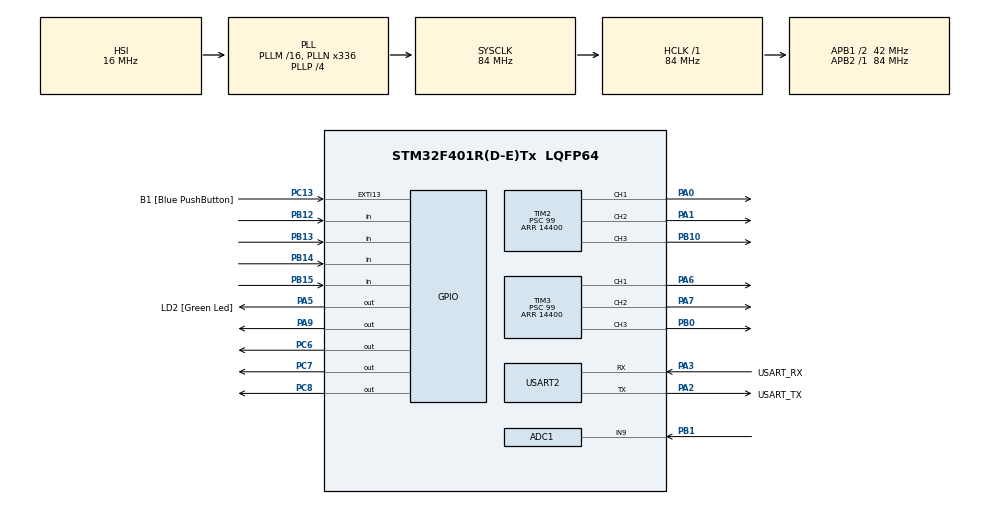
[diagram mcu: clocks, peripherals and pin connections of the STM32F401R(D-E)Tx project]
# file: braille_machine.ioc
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ADC1.Channel-1\#ChannelRegularConversion=ADC_CHANNEL_9
ADC1.ContinuousConvMode=ENABLE
ADC1.NbrOfConversionFlag=1
ADC1.Rank-1\#ChannelRegularConversion=1
ADC1.SamplingTime-1\#ChannelRegularConversion=ADC_SAMPLETIME_3CYCLES
ADC1.master=1
Mcu.Family=STM32F4
Mcu.Name=STM32F401R(D-E)Tx
Mcu.Package=LQFP64
NVIC.PriorityGroup=NVIC_PRIORITYGROUP_0
PA0-WKUP.Signal=S_TIM2_CH1_ETR
PA1.Signal=S_TIM2_CH2
PA13.GPIO_Label=TMS
PA13.Mode=Serial_Wire
PA13.Signal=SYS_JTMS-SWDIO
PA14.GPIO_Label=TCK
PA14.Mode=Serial_Wire
PA14.Signal=SYS_JTCK-SWCLK
PA2.GPIO_Label=USART_TX
PA2.GPIO_Mode=GPIO_MODE_AF_PP
PA2.GPIO_PuPd=GPIO_NOPULL
PA2.GPIO_Speed=GPIO_SPEED_FREQ_LOW
PA2.Mode=Asynchronous
PA2.Signal=USART2_TX
PA3.GPIO_Label=USART_RX
PA3.GPIO_Mode=GPIO_MODE_AF_PP
PA3.GPIO_PuPd=GPIO_NOPULL
PA3.GPIO_Speed=GPIO_SPEED_FREQ_LOW
PA3.Mode=Asynchronous
PA3.Signal=USART2_RX
PA5.GPIO_Label=LD2 [Green Led]
PA5.GPIO_Mode=GPIO_MODE_OUTPUT_PP
PA5.GPIO_PuPd=GPIO_NOPULL
PA5.GPIO_Speed=GPIO_SPEED_FREQ_LOW
PA5.Signal=GPIO_Output
PA6.Signal=S_TIM3_CH1
PA7.Signal=S_TIM3_CH2
PA9.Signal=GPIO_Output
PB0.Signal=S_TIM3_CH3
PB1.Signal=ADCx_IN9
PB10.Signal=S_TIM2_CH3
PB12.GPIO_PuPd=GPIO_PULLDOWN
PB12.Signal=GPIO_Input
PB13.GPIO_PuPd=GPIO_PULLDOWN
PB13.Signal=GPIO_Input
PB14.GPIO_PuPd=GPIO_PULLDOWN
PB14.Signal=GPIO_Input
PB15.GPIO_PuPd=GPIO_PULLDOWN
PB15.Signal=GPIO_Input
PB3.GPIO_Label=SWO
PB3.Signal=SYS_JTDO-SWO
PC13-ANTI_TAMP.GPIO_Label=B1 [Blue PushButton]
PC13-ANTI_TAMP.GPIO_ModeDefaultEXTI=GPIO_MODE_IT_FALLING
PC13-ANTI_TAMP.GPIO_PuPd=GPIO_NOPULL
PC13-ANTI_TAMP.Signal=GPXTI13
PC14-OSC32_IN.Mode=LSE-External-Oscillator
PC14-OSC32_IN.Signal=RCC_OSC32_IN
PC15-OSC32_OUT.Mode=LSE-External-Oscillator
PC15-OSC32_OUT.Signal=RCC_OSC32_OUT
PC6.GPIO_PuPd=GPIO_PULLDOWN
PC6.Signal=GPIO_Output
PC7.GPIO_PuPd=GPIO_PULLDOWN
PC7.Signal=GPIO_Output
PC8.GPIO_PuPd=GPIO_PULLDOWN
PC8.Signal=GPIO_Output
PH0\ -\ OSC_IN.Mode=HSE-External-Clock-Source
PH0\ -\ OSC_IN.Signal=RCC_OSC_IN
PH1\ -\ OSC_OUT.Mode=HSE-External-Clock-Source
PH1\ -\ OSC_OUT.Signal=RCC_OSC_OUT
ProjectManager.HeapSize=0x200
ProjectManager.StackSize=0x400
ProjectManager.TargetToolchain=STM32CubeIDE
RCC.48MHZClocksFreq_Value=48000000
RCC.AHBFreq_Value=84000000
RCC.APB1CLKDivider=RCC_HCLK_DIV2
RCC.APB1Freq_Value=42000000
RCC.APB1TimFreq_Value=84000000
RCC.APB2Freq_Value=84000000
RCC.APB2TimFreq_Value=84000000
RCC.CortexFreq_Value=84000000
RCC.HCLKFreq_Value=84000000
RCC.HSE_VALUE=8000000
RCC.HSI_VALUE=16000000
RCC.PLLN=336
RCC.PLLP=RCC_PLLP_DIV4
RCC.PLLQ=7
RCC.SYSCLKFreq_VALUE=84000000
RCC.SYSCLKSource=RCC_SYSCLKSOURCE_PLLCLK
RCC.VCOOutputFreq_Value=336000000
SH.ADCx_IN9.0=ADC1_IN9,IN9
SH.S_TIM2_CH1_ETR.0=TIM2_CH1,PWM Generation1 CH1
SH.S_TIM2_CH2.0=TIM2_CH2,PWM Generation2 CH2
SH.S_TIM2_CH3.0=TIM2_CH3,PWM Generation3 CH3
SH.S_TIM3_CH1.0=TIM3_CH1,PWM Generation1 CH1
SH.S_TIM3_CH2.0=TIM3_CH2,PWM Generation2 CH2
SH.S_TIM3_CH3.0=TIM3_CH3,PWM Generation3 CH3
TIM2.AutoReloadPreload=TIM_AUTORELOAD_PRELOAD_ENABLE
TIM2.Channel-PWM\ Generation1\ CH1=TIM_CHANNEL_1
TIM2.Channel-PWM\ Generation2\ CH2=TIM_CHANNEL_2
TIM2.Channel-PWM\ Generation3\ CH3=TIM_CHANNEL_3
TIM2.Period=14400
TIM2.Prescaler=99
TIM2.Pulse-PWM\ Generation1\ CH1=0
TIM3.AutoReloadPreload=TIM_AUTORELOAD_PRELOAD_ENABLE
TIM3.Channel-PWM\ Generation1\ CH1=TIM_CHANNEL_1
TIM3.Channel-PWM\ Generation2\ CH2=TIM_CHANNEL_2
TIM3.Channel-PWM\ Generation3\ CH3=TIM_CHANNEL_3
TIM3.Period=14400
TIM3.Prescaler=99
USART2.VirtualMode=VM_ASYNC
VP_TIM2_VS_ClockSourceINT.Mode=Internal
VP_TIM3_VS_ClockSourceINT.Mode=Internal
board=NUCLEO-F401RE

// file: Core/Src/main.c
/* USER CODE BEGIN Header */
/**
  ******************************************************************************
  * @file           : main.c
  * @brief          : Main program body
  ******************************************************************************
  * @attention
  *
  * Copyright (c) 2023 STMicroelectronics.
  * All rights reserved.
  *
  * This software is licensed under terms that can be found in the LICENSE file
  * in the root directory of this software component.
  * If no LICENSE file comes with this software, it is provided AS-IS.
  *
  ******************************************************************************
  */
/* USER CODE END Header */
#include "main.h"

ADC_HandleTypeDef hadc1;

TIM_HandleTypeDef htim2;
TIM_HandleTypeDef htim3;

UART_HandleTypeDef huart2;

void SystemClock_Config(void);
static void MX_GPIO_Init(void);
static void MX_USART2_UART_Init(void);
static void MX_TIM2_Init(void);
static void MX_TIM3_Init(void);
static void MX_ADC1_Init(void);

/* USER CODE BEGIN 0 */
void motor1_on(TIM_HandleTypeDef *htim2) {
	__HAL_TIM_SET_COMPARE(htim2,TIM_CHANNEL_1, 1080);
}

void motor2_on(TIM_HandleTypeDef *htim2) {
	__HAL_TIM_SET_COMPARE(htim2,TIM_CHANNEL_2, 1080);
}

void motor3_on(TIM_HandleTypeDef *htim2) {
	__HAL_TIM_SET_COMPARE(htim2,TIM_CHANNEL_3, 1080);
}

void motor4_on(TIM_HandleTypeDef *htim3) {
	__HAL_TIM_SET_COMPARE(htim3,TIM_CHANNEL_1, 1080);
}

void motor5_on(TIM_HandleTypeDef *htim3) {
	__HAL_TIM_SET_COMPARE(htim3,TIM_CHANNEL_2, 1080);
}

void motor6_on(TIM_HandleTypeDef *htim3) {
	__HAL_TIM_SET_COMPARE(htim3,TIM_CHANNEL_3, 1080);
}

void motor1_off(TIM_HandleTypeDef *htim2) {
	__HAL_TIM_SET_COMPARE(htim2,TIM_CHANNEL_1, 880);
}

void motor2_off(TIM_HandleTypeDef *htim2) {
	__HAL_TIM_SET_COMPARE(htim2,TIM_CHANNEL_2, 980);
}

void motor3_off(TIM_HandleTypeDef *htim2) {
	__HAL_TIM_SET_COMPARE(htim2,TIM_CHANNEL_3, 1000);
}

void motor4_off(TIM_HandleTypeDef *htim3) {
	__HAL_TIM_SET_COMPARE(htim3,TIM_CHANNEL_1, 1280);
}

void motor5_off(TIM_HandleTypeDef *htim3) {
	__HAL_TIM_SET_COMPARE(htim3,TIM_CHANNEL_2, 1180);
}

void motor6_off(TIM_HandleTypeDef *htim3) {
	__HAL_TIM_SET_COMPARE(htim3,TIM_CHANNEL_3, 1160);
}

void display(char c)
{
	if (c == 'a') {
		motor1_off(&htim2);
		motor2_off(&htim2);
		motor3_off(&htim2);
		motor4_on(&htim3);
		motor5_off(&htim3);
		motor6_off(&htim3);
	} else if (c == 'b') {
		motor1_off(&htim2);
		motor2_off(&htim2);
		motor3_off(&htim2);
		motor4_on(&htim3);
		motor5_on(&htim3);
		motor6_off(&htim3);
	} else if (c == 'c') {
		motor1_on(&htim2);
		motor2_off(&htim2);
		motor3_off(&htim2);
		motor4_on(&htim3);
		motor5_off(&htim3);
		motor6_off(&htim3);
	} else if (c == 'd') {
		motor1_on(&htim2);
		motor2_on(&htim2);
		motor3_off(&htim2);
		motor4_on(&htim3);
		motor5_off(&htim3);
		motor6_off(&htim3);
	} else if (c == 'e') {
		motor1_off(&htim2);
		motor2_on(&htim2);
		motor3_off(&htim2);
		motor4_on(&htim3);
		motor5_off(&htim3);
		motor6_off(&htim3);
	} else if (c == 'f') {
		motor1_on(&htim2);
		motor2_off(&htim2);
		motor3_off(&htim2);
		motor4_on(&htim3);
		motor5_on(&htim3);
		motor6_off(&htim3);
	} else if (c == 'g') {
		motor1_on(&htim2);
		motor2_on(&htim2);
		motor3_off(&htim2);
		motor4_on(&htim3);
		motor5_on(&htim3);
		motor6_off(&htim3);
	} else if (c == 'h') {
		motor1_off(&htim2);
		motor2_on(&htim2);
		motor3_off(&htim2);
		motor4_on(&htim3);
		motor5_on(&htim3);
		motor6_off(&htim3);
	} else if (c == 'i') {
		motor1_on(&htim2);
		motor2_off(&htim2);
		motor3_off(&htim2);
		motor4_off(&htim3);
		motor5_on(&htim3);
		motor6_off(&htim3);
	} else if (c == 'j') {
		motor1_on(&htim2);
		motor2_on(&htim2);
		motor3_off(&htim2);
		motor4_off(&htim3);
		motor5_on(&htim3);
		motor6_off(&htim3);
	} else if (c == 'k') {
		motor1_off(&htim2);
		motor2_off(&htim2);
		motor3_on(&htim2);
		motor4_on(&htim3);
		motor5_off(&htim3);
		motor6_off(&htim3);
	} else if (c == 'l') {
		motor1_off(&htim2);
		motor2_off(&htim2);
		motor3_on(&htim2);
		motor4_on(&htim3);
		motor5_on(&htim3);
		motor6_off(&htim3);
	} else if (c == 'm') {
		motor1_on(&htim2);
		motor2_off(&htim2);
		motor3_on(&htim2);
		motor4_on(&htim3);
		motor5_off(&htim3);
		motor6_off(&htim3);
	} else if (c == 'n') {
		motor1_on(&htim2);
		motor2_on(&htim2);
		motor3_on(&htim2);
		motor4_on(&htim3);
		motor5_off(&htim3);
		motor6_off(&htim3);
	} else if (c == 'o') {
		motor1_off(&htim2);
		motor2_on(&htim2);
		motor3_on(&htim2);
		motor4_on(&htim3);
		motor5_off(&htim3);
		motor6_off(&htim3);
	} else if (c == 'p') {
		motor1_on(&htim2);
		motor2_off(&htim2);
		motor3_on(&htim2);
		motor4_on(&htim3);
		motor5_on(&htim3);
		motor6_off(&htim3);
	} else if (c == 'q') {
		motor1_on(&htim2);
		motor2_on(&htim2);
		motor3_on(&htim2);
		motor4_on(&htim3);
		motor5_on(&htim3);
		motor6_off(&htim3);
	} else if (c == 'r') {
		motor1_off(&htim2);
		motor2_on(&htim2);
		motor3_on(&htim2);
		motor4_on(&htim3);
		motor5_on(&htim3);
		motor6_off(&htim3);
	} else if (c == 's') {
		motor1_on(&htim2);
		motor2_off(&htim2);
		motor3_on(&htim2);
		motor4_off(&htim3);
		motor5_on(&htim3);
		motor6_off(&htim3);
	} else if (c == 't') {
		motor1_on(&htim2);
		motor2_on(&htim2);
		motor3_on(&htim2);
		motor4_off(&htim3);
		motor5_on(&htim3);
		motor6_off(&htim3);
	} else if (c == 'u') {
		motor1_off(&htim2);
		motor2_off(&htim2);
		motor3_on(&htim2);
		motor4_on(&htim3);
		motor5_off(&htim3);
		motor6_on(&htim3);
	} else if (c == 'v') {
		motor1_off(&htim2);
		motor2_off(&htim2);
		motor3_on(&htim2);
		motor4_on(&htim3);
		motor5_on(&htim3);
		motor6_on(&htim3);
	} else if (c == 'w') {
		motor1_on(&htim2);
		motor2_on(&htim2);
		motor3_off(&htim2);
		motor4_off(&htim3);
		motor5_on(&htim3);
		motor6_on(&htim3);
	} else if (c == 'x') {
		motor1_on(&htim2);
		motor2_off(&htim2);
		motor3_on(&htim2);
		motor4_on(&htim3);
		motor5_off(&htim3);
		motor6_on(&htim3);
	} else if (c == 'y') {
		motor1_on(&htim2);
		motor2_on(&htim2);
		motor3_on(&htim2);
		motor4_on(&htim3);
		motor5_off(&htim3);
		motor6_on(&htim3);
	} else if (c == 'z') {
		motor1_off(&htim2);
		motor2_on(&htim2);
		motor3_on(&htim2);
		motor4_on(&htim3);
		motor5_off(&htim3);
		motor6_on(&htim3);
	}
}

char read(void)
{
	HAL_GPIO_WritePin(GPIOC, GPIO_PIN_6, GPIO_PIN_SET);
	HAL_GPIO_WritePin(GPIOC, GPIO_PIN_7, GPIO_PIN_RESET);
	HAL_GPIO_WritePin(GPIOC, GPIO_PIN_8, GPIO_PIN_RESET);

	if (HAL_GPIO_ReadPin(GPIOB, GPIO_PIN_12)==GPIO_PIN_SET) {
		return '1';
	} else if (HAL_GPIO_ReadPin(GPIOB, GPIO_PIN_13)==GPIO_PIN_SET) {
		return '4';
	} else if (HAL_GPIO_ReadPin(GPIOB, GPIO_PIN_14)==GPIO_PIN_SET) {
		return '7';
	} else if (HAL_GPIO_ReadPin(GPIOB, GPIO_PIN_15)==GPIO_PIN_SET) {
		return '*';
	}

	HAL_GPIO_WritePin(GPIOC, GPIO_PIN_6, GPIO_PIN_RESET);
	HAL_GPIO_WritePin(GPIOC, GPIO_PIN_7, GPIO_PIN_SET);
	HAL_GPIO_WritePin(GPIOC, GPIO_PIN_8, GPIO_PIN_RESET);

	if (HAL_GPIO_ReadPin(GPIOB, GPIO_PIN_12)==GPIO_PIN_SET) {
		return '2';
	} else if (HAL_GPIO_ReadPin(GPIOB, GPIO_PIN_13)==GPIO_PIN_SET) {
		return '5';
	} else if (HAL_GPIO_ReadPin(GPIOB, GPIO_PIN_14)==GPIO_PIN_SET) {
		return '8';
	} else if (HAL_GPIO_ReadPin(GPIOB, GPIO_PIN_15)==GPIO_PIN_SET) {
		return '0';
	}

	HAL_GPIO_WritePin(GPIOC, GPIO_PIN_6, GPIO_PIN_RESET);
	HAL_GPIO_WritePin(GPIOC, GPIO_PIN_7, GPIO_PIN_RESET);
	HAL_GPIO_WritePin(GPIOC, GPIO_PIN_8, GPIO_PIN_SET);

	if (HAL_GPIO_ReadPin(GPIOB, GPIO_PIN_12)==GPIO_PIN_SET) {
		return '3';
	} else if (HAL_GPIO_ReadPin(GPIOB, GPIO_PIN_13)==GPIO_PIN_SET) {
		return '6';
	} else if (HAL_GPIO_ReadPin(GPIOB, GPIO_PIN_14)==GPIO_PIN_SET) {
		return '9';
	} else if (HAL_GPIO_ReadPin(GPIOB, GPIO_PIN_15)==GPIO_PIN_SET) {
		return '#';
	}

	return 0;
}

void wait(int t)
{
  HAL_GPIO_WritePin(GPIOA, GPIO_PIN_9, GPIO_PIN_SET);
  HAL_Delay(t);
  HAL_GPIO_WritePin(GPIOA, GPIO_PIN_9, GPIO_PIN_RESET);
  HAL_Delay(100);
}

/* USER CODE END 0 */

int main(void)
{
  /* USER CODE BEGIN 1 */
	char initial_char = 0;
	int count = 0;
	char string[128] = {0};
	int top = 0;
	uint16_t value = 0;
  /* USER CODE END 1 */

  /* MCU Configuration--------------------------------------------------------*/

  /* Reset of all peripherals, Initializes the Flash interface and the Systick. */
  HAL_Init();

  /* Configure the system clock */
  SystemClock_Config();

  /* Initialize all configured peripherals */
  MX_GPIO_Init();
  MX_USART2_UART_Init();
  MX_TIM2_Init();
  MX_TIM3_Init();
  MX_ADC1_Init();
  /* USER CODE BEGIN 2 */
  HAL_TIM_PWM_Start(&htim2, TIM_CHANNEL_1);
  HAL_TIM_PWM_Start(&htim2, TIM_CHANNEL_2);
  HAL_TIM_PWM_Start(&htim2, TIM_CHANNEL_3);
  HAL_TIM_PWM_Start(&htim3, TIM_CHANNEL_1);
  HAL_TIM_PWM_Start(&htim3, TIM_CHANNEL_2);
  HAL_TIM_PWM_Start(&htim3, TIM_CHANNEL_3);
  /* USER CODE END 2 */

  /* Infinite loop */
  /* USER CODE BEGIN WHILE */
  while (1) {

	  if ((initial_char=read()) && ('1'<=initial_char) && (initial_char<='9')) {
		  wait(100);
		  while (1) {
			  if (read()=='#' || count>=2) {
				  string[top++] = (initial_char-49)*3+ 97 + count;
				  wait(300);
				  break;
			  } else if (read()==initial_char) {
				  count++;
				  wait(100);
			  }
		  }
		  count = 0;
	  } else if (initial_char=='*' || top==128) {
		  for (int i=0; i<top; ++i) {
			  HAL_GPIO_WritePin(GPIOA, GPIO_PIN_9, GPIO_PIN_SET);
			  display(string[i]);

			  HAL_ADC_Start(&hadc1);
			  HAL_ADC_PollForConversion(&hadc1, HAL_MAX_DELAY);
			  value = HAL_ADC_GetValue(&hadc1)/4 + 30;
			  HAL_Delay(value);

			  HAL_GPIO_WritePin(GPIOA, GPIO_PIN_9, GPIO_PIN_RESET);
			  HAL_Delay(70);
		  }
		  top = 0;
	  }

	}
}
/* USER CODE END WHILE */

void SystemClock_Config(void)
{
  RCC_OscInitTypeDef RCC_OscInitStruct = {0};
  RCC_ClkInitTypeDef RCC_ClkInitStruct = {0};

  /** Configure the main internal regulator output voltage
  */
  __HAL_RCC_PWR_CLK_ENABLE();
  __HAL_PWR_VOLTAGESCALING_CONFIG(PWR_REGULATOR_VOLTAGE_SCALE2);

  /** Initializes the RCC Oscillators according to the specified parameters
  * in the RCC_OscInitTypeDef structure.
  */
  RCC_OscInitStruct.OscillatorType = RCC_OSCILLATORTYPE_HSI;
  RCC_OscInitStruct.HSIState = RCC_HSI_ON;
  RCC_OscInitStruct.HSICalibrationValue = RCC_HSICALIBRATION_DEFAULT;
  RCC_OscInitStruct.PLL.PLLState = RCC_PLL_ON;
  RCC_OscInitStruct.PLL.PLLSource = RCC_PLLSOURCE_HSI;
  RCC_OscInitStruct.PLL.PLLM = 16;
  RCC_OscInitStruct.PLL.PLLN = 336;
  RCC_OscInitStruct.PLL.PLLP = RCC_PLLP_DIV4;
  RCC_OscInitStruct.PLL.PLLQ = 7;
  if (HAL_RCC_OscConfig(&RCC_OscInitStruct) != HAL_OK)
  {
    Error_Handler();
  }

  /** Initializes the CPU, AHB and APB buses clocks
  */
  RCC_ClkInitStruct.ClockType = RCC_CLOCKTYPE_HCLK|RCC_CLOCKTYPE_SYSCLK
                              |RCC_CLOCKTYPE_PCLK1|RCC_CLOCKTYPE_PCLK2;
  RCC_ClkInitStruct.SYSCLKSource = RCC_SYSCLKSOURCE_PLLCLK;
  RCC_ClkInitStruct.AHBCLKDivider = RCC_SYSCLK_DIV1;
  RCC_ClkInitStruct.APB1CLKDivider = RCC_HCLK_DIV2;
  RCC_ClkInitStruct.APB2CLKDivider = RCC_HCLK_DIV1;

  if (HAL_RCC_ClockConfig(&RCC_ClkInitStruct, FLASH_LATENCY_2) != HAL_OK)
  {
    Error_Handler();
  }
}

static void MX_ADC1_Init(void)
{

  ADC_ChannelConfTypeDef sConfig = {0};

  /** Configure the global features of the ADC (Clock, Resolution, Data Alignment and number of conversion)
  */
  hadc1.Instance = ADC1;
  hadc1.Init.ClockPrescaler = ADC_CLOCK_SYNC_PCLK_DIV4;
  hadc1.Init.Resolution = ADC_RESOLUTION_12B;
  hadc1.Init.ScanConvMode = DISABLE;
  hadc1.Init.ContinuousConvMode = ENABLE;
  hadc1.Init.DiscontinuousConvMode = DISABLE;
  hadc1.Init.ExternalTrigConvEdge = ADC_EXTERNALTRIGCONVEDGE_NONE;
  hadc1.Init.ExternalTrigConv = ADC_SOFTWARE_START;
  hadc1.Init.DataAlign = ADC_DATAALIGN_RIGHT;
  hadc1.Init.NbrOfConversion = 1;
  hadc1.Init.DMAContinuousRequests = DISABLE;
  hadc1.Init.EOCSelection = ADC_EOC_SINGLE_CONV;
  if (HAL_ADC_Init(&hadc1) != HAL_OK)
  {
    Error_Handler();
  }

  /** Configure for the selected ADC regular channel its corresponding rank in the sequencer and its sample time.
  */
  sConfig.Channel = ADC_CHANNEL_9;
  sConfig.Rank = 1;
  sConfig.SamplingTime = ADC_SAMPLETIME_3CYCLES;
  if (HAL_ADC_ConfigChannel(&hadc1, &sConfig) != HAL_OK)
  {
    Error_Handler();
  }

}

static void MX_TIM2_Init(void)
{

  TIM_ClockConfigTypeDef sClockSourceConfig = {0};
  TIM_MasterConfigTypeDef sMasterConfig = {0};
  TIM_OC_InitTypeDef sConfigOC = {0};

  htim2.Instance = TIM2;
  htim2.Init.Prescaler = 99;
  htim2.Init.CounterMode = TIM_COUNTERMODE_UP;
  htim2.Init.Period = 14400;
  htim2.Init.ClockDivision = TIM_CLOCKDIVISION_DIV1;
  htim2.Init.AutoReloadPreload = TIM_AUTORELOAD_PRELOAD_ENABLE;
  if (HAL_TIM_Base_Init(&htim2) != HAL_OK)
  {
    Error_Handler();
  }
  sClockSourceConfig.ClockSource = TIM_CLOCKSOURCE_INTERNAL;
  if (HAL_TIM_ConfigClockSource(&htim2, &sClockSourceConfig) != HAL_OK)
  {
    Error_Handler();
  }
  if (HAL_TIM_PWM_Init(&htim2) != HAL_OK)
  {
    Error_Handler();
  }
  sMasterConfig.MasterOutputTrigger = TIM_TRGO_RESET;
  sMasterConfig.MasterSlaveMode = TIM_MASTERSLAVEMODE_DISABLE;
  if (HAL_TIMEx_MasterConfigSynchronization(&htim2, &sMasterConfig) != HAL_OK)
  {
    Error_Handler();
  }
  sConfigOC.OCMode = TIM_OCMODE_PWM1;
  sConfigOC.Pulse = 0;
  sConfigOC.OCPolarity = TIM_OCPOLARITY_HIGH;
  sConfigOC.OCFastMode = TIM_OCFAST_DISABLE;
  if (HAL_TIM_PWM_ConfigChannel(&htim2, &sConfigOC, TIM_CHANNEL_1) != HAL_OK)
  {
    Error_Handler();
  }
  if (HAL_TIM_PWM_ConfigChannel(&htim2, &sConfigOC, TIM_CHANNEL_2) != HAL_OK)
  {
    Error_Handler();
  }
  if (HAL_TIM_PWM_ConfigChannel(&htim2, &sConfigOC, TIM_CHANNEL_3) != HAL_OK)
  {
    Error_Handler();
  }
  HAL_TIM_MspPostInit(&htim2);

}

static void MX_TIM3_Init(void)
{

  TIM_ClockConfigTypeDef sClockSourceConfig = {0};
  TIM_MasterConfigTypeDef sMasterConfig = {0};
  TIM_OC_InitTypeDef sConfigOC = {0};

  htim3.Instance = TIM3;
  htim3.Init.Prescaler = 99;
  htim3.Init.CounterMode = TIM_COUNTERMODE_UP;
  htim3.Init.Period = 14400;
  htim3.Init.ClockDivision = TIM_CLOCKDIVISION_DIV1;
  htim3.Init.AutoReloadPreload = TIM_AUTORELOAD_PRELOAD_ENABLE;
  if (HAL_TIM_Base_Init(&htim3) != HAL_OK)
  {
    Error_Handler();
  }
  sClockSourceConfig.ClockSource = TIM_CLOCKSOURCE_INTERNAL;
  if (HAL_TIM_ConfigClockSource(&htim3, &sClockSourceConfig) != HAL_OK)
  {
    Error_Handler();
  }
  if (HAL_TIM_PWM_Init(&htim3) != HAL_OK)
  {
    Error_Handler();
  }
  sMasterConfig.MasterOutputTrigger = TIM_TRGO_RESET;
  sMasterConfig.MasterSlaveMode = TIM_MASTERSLAVEMODE_DISABLE;
  if (HAL_TIMEx_MasterConfigSynchronization(&htim3, &sMasterConfig) != HAL_OK)
  {
    Error_Handler();
  }
  sConfigOC.OCMode = TIM_OCMODE_PWM1;
  sConfigOC.Pulse = 0;
  sConfigOC.OCPolarity = TIM_OCPOLARITY_HIGH;
  sConfigOC.OCFastMode = TIM_OCFAST_DISABLE;
  if (HAL_TIM_PWM_ConfigChannel(&htim3, &sConfigOC, TIM_CHANNEL_1) != HAL_OK)
  {
    Error_Handler();
  }
  if (HAL_TIM_PWM_ConfigChannel(&htim3, &sConfigOC, TIM_CHANNEL_2) != HAL_OK)
  {
    Error_Handler();
  }
  if (HAL_TIM_PWM_ConfigChannel(&htim3, &sConfigOC, TIM_CHANNEL_3) != HAL_OK)
  {
    Error_Handler();
  }
  HAL_TIM_MspPostInit(&htim3);

}

static void MX_USART2_UART_Init(void)
{

  huart2.Instance = USART2;
  huart2.Init.BaudRate = 115200;
  huart2.Init.WordLength = UART_WORDLENGTH_8B;
  huart2.Init.StopBits = UART_STOPBITS_1;
  huart2.Init.Parity = UART_PARITY_NONE;
  huart2.Init.Mode = UART_MODE_TX_RX;
  huart2.Init.HwFlowCtl = UART_HWCONTROL_NONE;
  huart2.Init.OverSampling = UART_OVERSAMPLING_16;
  if (HAL_UART_Init(&huart2) != HAL_OK)
  {
    Error_Handler();
  }

}

static void MX_GPIO_Init(void)
{
  GPIO_InitTypeDef GPIO_InitStruct = {0};

  /* GPIO Ports Clock Enable */
  __HAL_RCC_GPIOC_CLK_ENABLE();
  __HAL_RCC_GPIOH_CLK_ENABLE();
  __HAL_RCC_GPIOA_CLK_ENABLE();
  __HAL_RCC_GPIOB_CLK_ENABLE();

  /*Configure GPIO pin Output Level */
  HAL_GPIO_WritePin(GPIOA, LD2_Pin|GPIO_PIN_9, GPIO_PIN_RESET);

  /*Configure GPIO pin Output Level */
  HAL_GPIO_WritePin(GPIOC, GPIO_PIN_6|GPIO_PIN_7|GPIO_PIN_8, GPIO_PIN_RESET);

  /*Configure GPIO pin : B1_Pin */
  GPIO_InitStruct.Pin = B1_Pin;
  GPIO_InitStruct.Mode = GPIO_MODE_IT_FALLING;
  GPIO_InitStruct.Pull = GPIO_NOPULL;
  HAL_GPIO_Init(B1_GPIO_Port, &GPIO_InitStruct);

  /*Configure GPIO pins : LD2_Pin PA9 */
  GPIO_InitStruct.Pin = LD2_Pin|GPIO_PIN_9;
  GPIO_InitStruct.Mode = GPIO_MODE_OUTPUT_PP;
  GPIO_InitStruct.Pull = GPIO_NOPULL;
  GPIO_InitStruct.Speed = GPIO_SPEED_FREQ_LOW;
  HAL_GPIO_Init(GPIOA, &GPIO_InitStruct);

  /*Configure GPIO pins : PB12 PB13 PB14 PB15 */
  GPIO_InitStruct.Pin = GPIO_PIN_12|GPIO_PIN_13|GPIO_PIN_14|GPIO_PIN_15;
  GPIO_InitStruct.Mode = GPIO_MODE_INPUT;
  GPIO_InitStruct.Pull = GPIO_PULLDOWN;
  HAL_GPIO_Init(GPIOB, &GPIO_InitStruct);

  /*Configure GPIO pins : PC6 PC7 PC8 */
  GPIO_InitStruct.Pin = GPIO_PIN_6|GPIO_PIN_7|GPIO_PIN_8;
  GPIO_InitStruct.Mode = GPIO_MODE_OUTPUT_PP;
  GPIO_InitStruct.Pull = GPIO_PULLDOWN;
  GPIO_InitStruct.Speed = GPIO_SPEED_FREQ_LOW;
  HAL_GPIO_Init(GPIOC, &GPIO_InitStruct);

}

void Error_Handler(void)
{
  __disable_irq();
  while (1)
  {
  }
}
